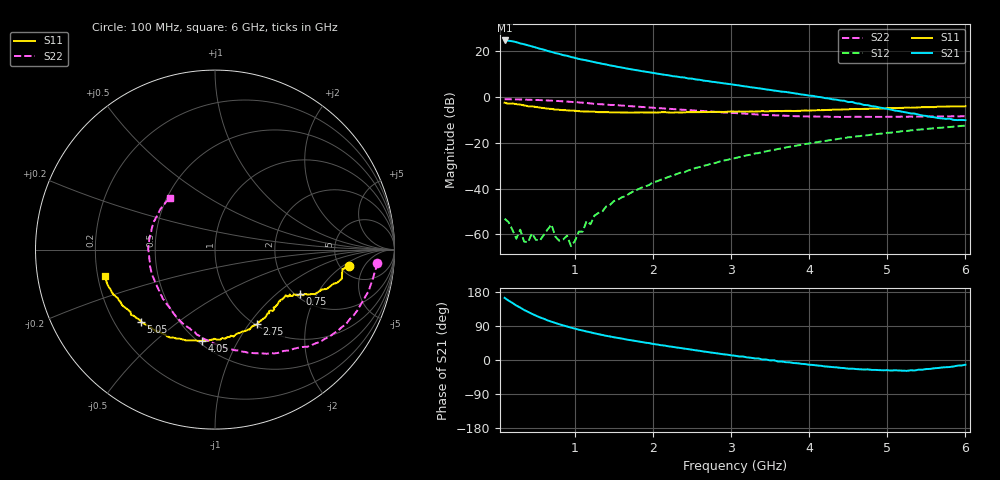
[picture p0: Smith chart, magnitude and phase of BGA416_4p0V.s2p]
!  INFINEON TECHNOLOGIES Silicon Discrete Components
!  BGA416
!  Vcc=4.0 V
!  Common Emitter S-Parameters:  5. October 2001
#  Hz  S  DB  R  50
! f  S11  S21  S12  S22
! Hz  Mag  Ang  Mag  Ang  Mag  Ang  Mag  Ang
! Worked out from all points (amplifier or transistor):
!   119 points, 100 MHz to 6 GHz, reference 50 ohm
!   highest |S21| = 24.8 dB at 100 MHz (marker M1)
!   |S21| within 3 dB of that: start of sweep to 490.1 MHz
!   unconditionally stable (mu >= 1): start of sweep to 142 MHz; 157 MHz to end of sweep
!   at 1.05 GHz: K = 19.79, MAG = 21.8 dB, |S12| = -58.9 dB
!   at 3.05 GHz: K = 3.40, MAG = 7.8 dB, |S12| = -26.7 dB
!   at 6 GHz: K = 3.57, MAG = -7.3 dB, |S12| = -12.4 dB
!   S11 on the Smith chart (normalised r, x): 100 MHz: 6.01, -2.58; 750 MHz: 2.12, -1.46; 2.75 GHz: 1.02, -1.10; 4.05 GHz: 0.52, -0.72; 5.05 GHz: 0.31, -0.37; 6 GHz: 0.23, -0.11
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1e8  -2.45 -7.0  24.82 164.0  -53.24 1.6  -0.89 -4.6
1.5e8  -2.88 -8.8  24.73 156.7  -54.64 -170.2  -0.89 -6.8
2e8  -2.79 -12.9  24.45 150.7  -58.08 33.2  -0.94 -8.8
2.5e8  -3.04 -15.3  24.07 143.8  -61.95 -61.1  -0.97 -10.8
3e8  -3.25 -16.0  23.53 138.3  -58.01 109.2  -1.02 -13.1
3.5e8  -3.60 -19.4  23.16 132.0  -63.22 8.6  -1.05 -15.1
4.5e8  -4.01 -21.3  22.22 121.8  -59.58 26.3  -1.19 -19.4
5.5e8  -4.54 -24.7  21.21 112.6  -62.82 9.6  -1.29 -23.2
7e8  -5.14 -27.4  19.82 101.1  -55.74 15.6  -1.52 -29.6
7.5e8  -5.44 -27.5  19.30 97.7  -61.10 9.6  -1.64 -31.4
9e8  -5.74 -29.3  18.10 88.4  -60.61 21.9  -1.93 -37.4
9.5e8  -5.95 -29.6  17.58 85.4  -65.23 -53.8  -2.08 -39.2
1.1e9  -6.25 -31.0  16.42 77.7  -58.83 -86.9  -2.42 -44.7
1.3e9  -6.58 -32.8  14.97 68.2  -50.69 -128.2  -3.03 -51.7
1.5e9  -6.63 -36.4  13.62 60.0  -45.48 -139.3  -3.42 -58.6
1.75e9  -6.76 -39.4  12.00 51.2  -41.19 -149.7  -4.04 -67.1
2.1e9  -6.59 -45.1  10.06 39.2  -36.15 -159.4  -4.85 -78.6
2.75e9  -6.42 -60.5  6.75 19.5  -29.05 -178.2  -6.30 -102.2
3.05e9  -6.33 -67.0  5.37 11.3  -26.70 173.6  -6.96 -113.8
4.05e9  -5.79 -98.2  0.54 -13.2  -19.94 146.9  -8.46 -157.7
5.05e9  -4.79 -135.8  -5.46 -27.9  -15.52 118.6  -8.59 160.3
6e9  -3.99 -166.7  -10.06 -12.4  -12.45 93.6  -8.36 130.9
